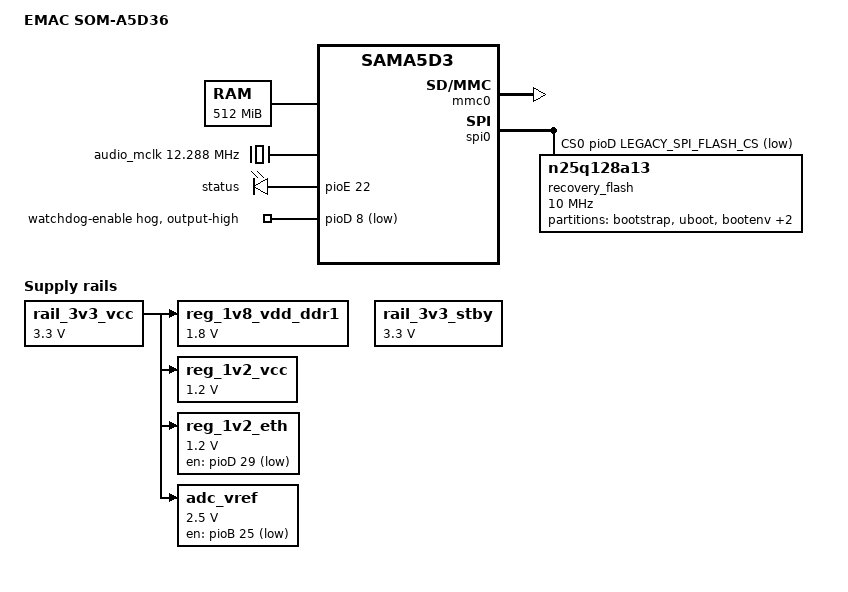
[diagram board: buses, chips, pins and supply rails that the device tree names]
// SPDX-License-Identifier: GPL-2.0-or-later
/*
 * som-a5d36-bare.dtsi - Device Tree Include file for the SOM-A5D36.
 *
 * Copyright (C) 2023 EMAC Inc.
 *
 */
#include "sama5d36.dtsi"
#include <dt-bindings/gpio/gpio.h>

#define LEGACY_SPI_FLASH_CS 	13
#define CURRENT_SPI_FLASH_CS 	14

/ {
	model = "EMAC SOM-A5D36";
	compatible = "emac,soma5d36", "atmel,sama5d36", "atmel,sama5d3", "atmel,sama5";

	// 512 MB RAM
	memory@20000000 {
		reg = <0x20000000 0x20000000>;
	};

	clocks {
		#address-cells = <1>;
		#size-cells = <1>;
		ranges;

		slow_xtal {
			clock-frequency = <32768>;
		};

		main_xtal {
			clock-frequency = <12000000>;
		};

		audio_mclk: audio_mclk {
			compatible = "fixed-clock";
			#clock-cells = <0>;
			clock-frequency = <12288000>;
			clock-output-names = "audio-clk";
			gpios = <&pioC 19 GPIO_ACTIVE_HIGH>;
		};

		eth_phy_clk: eth_phy_clk {
			compatible = "fixed-clock";
			#clock-cells = <0>;
			clock-frequency = <25000000>;
			clock-output-names = "phy-clk";
		};
	};

	leds {
		compatible = "gpio-leds";
		status {
			label = "status";
			gpios = <&pioE 22 GPIO_ACTIVE_HIGH>;
			default-state = "on";
		};
	};

	regulators {
		compatible = "simple-bus";
		#address-cells = <1>;
		#size-cells = <0>;

		reg_1v8_vdd_ddr1: reg_1v8_vdd_ddr1@0 {
			compatible = "regulator-fixed";
			reg = <0>;
			regulator-name = "1V8_VDD_DDR1";
			regulator-min-microvolt = <1800000>;
			regulator-max-microvolt = <1800000>;
			regulator-always-on;
			vin-supply = <&rail_3v3_vcc>;
		};
		reg_1v2_vcc: reg_1v2_vcc@1 {
			compatible = "regulator-fixed";
			reg = <1>;
			regulator-name = "1V2_VCC";
			regulator-min-microvolt = <1200000>;
			regulator-max-microvolt = <1200000>;
			regulator-always-on;
			vin-supply = <&rail_3v3_vcc>;
		};
		reg_1v2_eth: reg_1v2_eth@2 {
			compatible = "regulator-fixed";
			reg = <2>;
			regulator-name = "1V2_ETH";
			regulator-min-microvolt = <1200000>;
			regulator-max-microvolt = <1200000>;
			gpio = <&pioD 29 GPIO_ACTIVE_HIGH>;
			vin-supply = <&rail_3v3_vcc>;
		};
		rail_3v3_vcc: rail_3v3_vcc@3 {
			compatible = "regulator-fixed";
			reg = <3>;
			regulator-name = "3V3_VCC";
			regulator-min-microvolt = <3300000>;
			regulator-max-microvolt = <3300000>;
			regulator-always-on;
		};
		rail_3v3_stby: rail_3v3_stby@4 {
			compatible = "regulator-fixed";
			reg = <4>;
			regulator-name = "3V3_STBY";
			regulator-min-microvolt = <3300000>;
			regulator-max-microvolt = <3300000>;
			regulator-always-on;
		};
		adc_vref: adc_vref@5 {
			compatible = "regulator-fixed";
			reg = <5>;
			regulator-name = "ADC_VREF";
			regulator-min-microvolt = <2500000>;
			regulator-max-microvolt = <2500000>;
			gpio = <&pioB 25 GPIO_ACTIVE_LOW>;
			vin-supply = <&rail_3v3_vcc>;
		};
	};

	gpio_watchdog: watchdog {
		/* MAX6747 */
		compatible = "linux,wdt-gpio";
		pinctrl-names = "default";
		pinctrl-0 = <&pinctrl_watchdog>;
		gpios = <&pioD 6 GPIO_ACTIVE_LOW>;
		hw_algo = "level";
		hw_margin_ms = <1000>;
		status = "disabled";
	};
};

&pinctrl {
	watchdog {
		pinctrl_watchdog: pinctrl_watchdog {
			atmel,pins =
				<AT91_PIOD 6 AT91_PERIPH_GPIO AT91_PINCTRL_PULL_UP>;
		};
	};
	usba {
		pinctrl_usba_vbus: pinctrl_usba_vbus {
			atmel,pins =
				<AT91_PIOC 27 AT91_PERIPH_GPIO AT91_PINCTRL_DEGLITCH>;
		};
	};
	ebi{ /* pins renamed due to upstream bug */
		pinctrl_ebi_cs0: ebi-cs0-0 {
			atmel,pins =
				<AT91_PIOE 26 AT91_PERIPH_A AT91_PINCTRL_NONE>;
		};

		pinctrl_ebi_cs1: ebi-cs1-0 {
			atmel,pins =
				<AT91_PIOE 27 AT91_PERIPH_A AT91_PINCTRL_NONE>;
		};

		pinctrl_ebi_cs2: ebi-cs2-0 {
			atmel,pins =
				<AT91_PIOE 28 AT91_PERIPH_A AT91_PINCTRL_NONE>;
		};

		pinctrl_ebi_nwait: ebi-nwait-0 {
			atmel,pins =
				<AT91_PIOE 30 AT91_PERIPH_A AT91_PINCTRL_NONE>;
		};

		pinctrl_ebi_nwr1_nbs1: ebi-nwr1-nbs1-0 {
			atmel,pins =
				<AT91_PIOE 29 AT91_PERIPH_A AT91_PINCTRL_NONE>;
		};
	};

};

&pioD {
	gpio_watchdog_en: watchdog-enable {
		gpio-hog;
		gpios = <8 GPIO_ACTIVE_LOW>;
		output-high;
		/* LOW - enabled , HIGH - disabled */
		line-name = "watchdog-enable";
	};
};

&tcb0 {
	timer@0 {
		compatible = "atmel,tcb-timer";
		reg = <0>;
	};
};

&tcb1 {
	timer@0 {
		compatible = "atmel,tcb-timer";
		reg = <0>;
	};
};

&macb0 {
	phy-mode = "rgmii";
	status = "disabled";
	phy-handle = <&ethphy1>;
	#address-cells = <1>;
	#size-cells = <0>;
	ethphy1: ethernet-phy@1 {
		reg = <0x1>;
		micrel-led-mode = <1>;
		clocks = <&eth_phy_clk>;
		clock-names = "rmii-ref";
		interrupt-parent = <&pioD>;
		interrupts = <19 IRQ_TYPE_LEVEL_LOW>;
	};
};

&mmc0 {
	pinctrl-names = "default";
	pinctrl-0 = <&pinctrl_mmc0_clk_cmd_dat0 &pinctrl_mmc0_dat1_3>;
	status = "okay";
	slot@0 {
		reg = <0>;
		bus-width = <4>;
		non-removable;
	};
};

&i2c0 {
	status = "disabled";
	clock-frequency = <400000>;
	
	eeprom: atmel@50 {
		compatible = "atmel,24c02";
		reg = <0x50>;
		status = "disabled";
	};
};

&spi0 {
	num-cs = <1>;
	pinctrl-0 = <&pinctrl_spi0>;
	cs-gpios = <&pioD LEGACY_SPI_FLASH_CS GPIO_ACTIVE_LOW>;
	status = "okay";
	recovery_flash: flash@0 {
		compatible = "n25q128a13", "jedec,spi-nor";
		/* 8MB Serial Flash*/
		reg = <0x0>;
		spi-max-frequency = <10000000>;
		status = "okay";
		partitions {
			compatible = "fixed-partitions";
			#address-cells = <1>;
			#size-cells = <1>;
			partition@0 {
				label = "bootstrap";
				reg = <0x00000000 0x00010000>;
			};
			partition@10000 {
				label = "uboot";
				reg = <0x00010000 0x000b0000>;
			};
			partition@c0000 {
				label = "bootenv";
				reg = <0x000c0000 0x00040000>;
			};
			partition@100000 {
				label = "kernel";
				reg = <0x00100000 0x00700000>;
			};
			partition@800000 {
				label = "dtb";
				reg = <0x00800000 0x00100000>;
			};
		};
	};
};

&usb0 {
	atmel,vbus-gpio = <&pioC 27 GPIO_ACTIVE_HIGH>;
	pinctrl-names = "default";
	pinctrl-0 = <&pinctrl_usba_vbus>;
	status = "disabled";
};

&usb1 {
	num-ports = <3>;
	status = "disabled";
};
